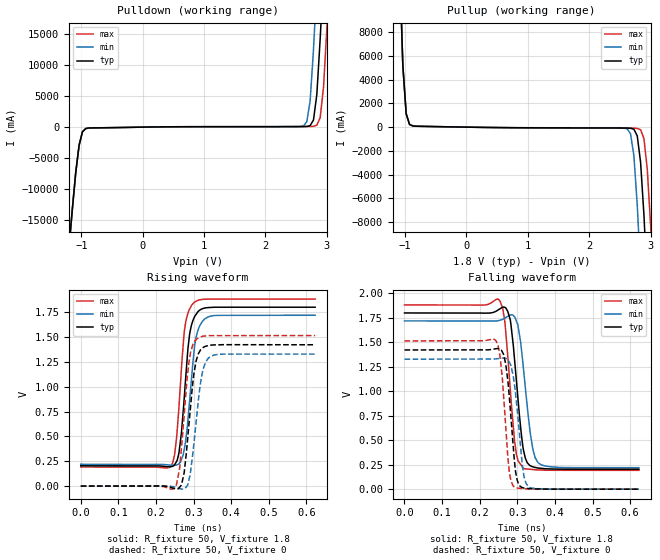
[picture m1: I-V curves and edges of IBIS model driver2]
| IBIS file inv_chain_fast_5ps_tr1ps.ibs created by PYS2IBIS3
| Missouri S&T EMC Lab
[IBIS Ver] 7.1
[File Name] inv_chain_fast_5ps_tr1ps.ibs
[File Rev] 1.0
[Date] Jul 27, 2026
[Source] Eight-stage inv_chain transistor model characterized with s2ibispy
[Notes] Parameter selection; sim_time=6.231e-10, tr=tf=1.000e-12.
[Component] invchain
[Manufacturer] s2ibispy study
[Package]
| variable   typ   min   max
R_pkg 0 NA NA
L_pkg 0H NA NA
C_pkg 0F NA NA
[Pin]  signal_name   model_name   R_pin   L_pin   C_pin
VSSQ   VSSQ   Gnd
VCCQ   VCCQ   Power
| IN IN dummy
PAD   PAD   driver2
| End of Component
| Models and submodels in the file (1): driver2 (Output)
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[Model] driver2
Model_type Output
Polarity Non-Inverting
Enable Active-High
Vinl  = 0.8V
Vinh  = 2V
C_comp 0.4680pF NA NA
[Temperature Range] 27.0000 27.0000 27.0000
[Voltage Range] 1.8000V 1.7000V 1.9000V
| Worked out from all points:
|   slope of the pulldown table from 0 to 0.27 V, typ, clamps not added: 6.79 ohm
|   slope of the pullup table from 0 to 0.27 V, typ, clamps not added: 12.6 ohm
|   rising waveform, R_fixture 50, V_fixture 1.8: 20-80 % time 20.5ps typ, 22.1ps min, 19.2ps max; typ from 0.204 V to 1.8 V
|   rising waveform, R_fixture 50, V_fixture 0: 20-80 % time 21.8ps typ, 23.2ps min, 20.4ps max; typ from 0 V to 1.42 V
|   falling waveform, R_fixture 50, V_fixture 1.8: 20-80 % time 22.9ps typ, 25.3ps min, 20.9ps max; typ from 1.8 V to 0.204 V
|   falling waveform, R_fixture 50, V_fixture 0: 20-80 % time 18.3ps typ, 19.9ps min, 17.2ps max; typ from 1.42 V to 0 V
[Pulldown]
| Voltage   I(typ)   I(min)   I(max)
-1.8V     -87.88A    -87.88A    -87.88A
-1.2V     -19.4A     -19.4A     -19.4A
-1.036V   -2.952A    -2.948A    -2.955A
-927.3mV  -221.8mA   -216.4mA   -227mA
2.618V    95.77mA    193.1mA    97.15mA
2.727V    244.8mA    4.224A     106.4mA
2.782V    1.151A     12.49A     132.5mA
2.836V    5.27A      23.04A     313.7mA
2.891V    14.25A     33.59A     1.533A
2.946V    24.81A     44.15A     6.464A
3V        35.36A     54.71A     16.02A
3.6V      151.5A     170.8A     132.1A
[Pullup]
| Voltage   I(typ)   I(min)   I(max)
-1.8V     151.4A     151.4A     151.4A
-1.091V   14.2A      14.19A     14.2A
-981.8mV  1.13A      1.129A     1.132A
-872.7mV  99.18mA    97.54mA    100.6mA
2.618V    -78.19mA   -142.5mA   -79.21mA
2.727V    -177.2mA   -2.408A    -86.52mA
2.782V    -728.3mA   -6.523A    -104.6mA
2.836V    -2.952A    -12.18A    -222.3mA
2.891V    -7.391A    -18.4A     -950.7mA
2.946V    -13.22A    -24.62A    -3.561A
3V        -19.44A    -30.85A    -8.297A
3.6V      -87.92A    -99.33A    -76.52A
[Ramp]
| variable   typ   min   max
dV/dt_r 0.8532/0.02187n 0.7968/0.02333n 0.9090/0.02037n
dV/dt_f 0.9575/0.02296n 0.8972/0.02484n 1.0171/0.02129n
R_load = 50
[Rising Waveform]
R_fixture = 50
V_fixture = 1.8
|time   V(typ)   V(min)   V(max)
0s        204.2mV    219.5mV    192.2mV
239.5ps   195.8mV    210.7mV    199.8mV
254.5ps   246.1mV    212.6mV    469.2mV
267ps     507mV      259.5mV    1.14V
275.7ps   916.7mV    375.4mV    1.57V
289.4ps   1.53V      850.7mV    1.781V
301.9ps   1.7V       1.383V     1.85V
316.2ps   1.77V      1.613V     1.875V
344.3ps   1.798V     1.71V      1.882V
623.1ps   1.8V       1.719V     1.882V
[Rising Waveform]
R_fixture = 50
V_fixture = 0
|time   V(typ)   V(min)   V(max)
0s        13.08nV    12.76nV    13.48nV
249.5ps   -27.44mV   -8.286mV   -16.89mV
262.6ps   -12.48mV   -24.29mV   172.1mV
275.1ps   139.8mV    -27.56mV   731.9mV
285.1ps   511.9mV    20.67mV    1.168V
297.5ps   1.029V     313.9mV    1.418V
309.4ps   1.293V     749.4mV    1.485V
324.3ps   1.393V     1.164V     1.508V
344.9ps   1.418V     1.305V     1.515V
623.1ps   1.422V     1.328V     1.515V
[Falling Waveform]
R_fixture = 50
V_fixture = 1.8
|time   V(typ)   V(min)   V(max)
0s        1.8V       1.719V     1.882V
253.2ps   1.842V     1.724V     1.926V
267ps     1.857V     1.748V     1.705V
281.3ps   1.728V     1.781V     1.009V
297.5ps   1.102V     1.716V     356.6mV
307.5ps   674.1mV    1.537V     259.9mV
317.5ps   377.5mV    1.181V     209.4mV
337.4ps   233.3mV    495.3mV    201.5mV
355.5ps   215.9mV    268.8mV    196.5mV
623.1ps   204.2mV    219.5mV    192.2mV
[Falling Waveform]
R_fixture = 50
V_fixture = 0
|time   V(typ)   V(min)   V(max)
0s        1.422V     1.328V     1.515V
243.3ps   1.435V     1.332V     1.516V
253.9ps   1.431V     1.336V     1.36V
268.8ps   1.284V     1.338V     654.5mV
278.8ps   935.4mV    1.297V     171.1mV
291.9ps   299.4mV    1.084V     22.06mV
299.4ps   94.87mV    830.3mV    11.76mV
313.7ps   14.76mV    229.3mV    5.679mV
330ps     5.882mV    22.22mV    2.489mV
623.1ps   129.2nV    44.46nV    94.56nV
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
